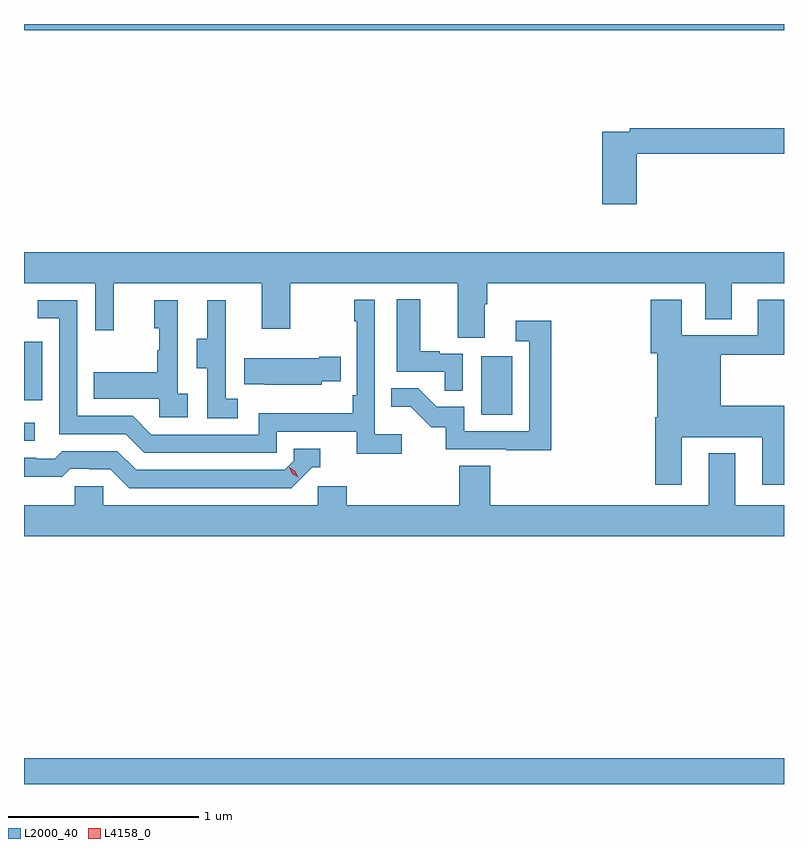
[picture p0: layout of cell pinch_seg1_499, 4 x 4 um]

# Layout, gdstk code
import gdstk
lib = gdstk.Library(unit=1e-6, precision=1e-09)
def R(c, l, rs):  # rectangles x0, y0, x1, y1
    for r in rs: c.add(gdstk.rectangle(r[:2], r[2:], *l))
def P(c, l, *ps):  # polygons
    for p in ps: c.add(gdstk.Polygon(p, *l))
L2000_40 = (2000, 40)
L4158_0 = (4158, 0)

pinch_seg1_499 = lib.new_cell('pinch_seg1_499')
R(pinch_seg1_499, L2000_40, [(1131.763,531.78,1135.763,531.916), (1131.763,533.586,1131.82,533.682), (1134.17,533.724,1134.334,534.031), (1131.763,533.799,1131.858,534.108), (1131.763,535.748,1135.763,535.78)])
P(pinch_seg1_499, L2000_40, [(1134.989,535.096),(1135.763,535.096),(1135.763,535.232),(1134.952,535.232),(1134.952,535.212),(1134.806,535.212),(1134.806,534.831),(1134.989,534.831)],
  [(1134.187,534.304),(1134.2,534.304),(1134.2,534.416),(1135.349,534.416),(1135.349,534.226),(1135.489,534.226),(1135.489,534.416),(1135.763,534.416),(1135.763,534.58),(1131.763,534.58),(1131.763,534.416),(1132.137,534.416),(1132.137,534.168),(1132.235,534.168),(1132.235,534.416),(1133.015,534.416),(1133.015,534.177),(1133.163,534.177),(1133.163,534.416),(1134.047,534.416),(1134.047,534.13),(1134.187,534.13)],
  [(1134.072,534.045),(1133.951,534.045),(1133.951,534.058),(1133.848,534.058),(1133.848,534.331),(1133.726,534.331),(1133.726,533.949),(1133.977,533.949),(1133.977,533.851),(1134.072,533.851)],
  [(1135.225,533.606),(1135.649,533.606),(1135.649,533.355),(1135.763,533.355),(1135.763,533.77),(1135.429,533.77),(1135.429,534.04),(1135.763,534.04),(1135.763,534.328),(1135.625,534.328),(1135.625,534.141),(1135.225,534.141),(1135.225,534.328),(1135.061,534.328),(1135.061,534.048),(1135.097,534.048),(1135.097,533.71),(1135.085,533.71),(1135.085,533.355),(1135.225,533.355)],
  [(1133.752,533.62),(1133.61,533.62),(1133.61,534.328),(1133.502,534.328),(1133.502,534.215),(1133.514,534.215),(1133.514,533.827),(1133.494,533.827),(1133.494,533.731),(1132.998,533.731),(1132.998,533.619),(1132.434,533.619),(1132.335,533.718),(1132.044,533.718),(1132.044,534.327),(1131.835,534.327),(1131.835,534.231),(1131.948,534.231),(1131.948,533.622),(1132.298,533.622),(1132.397,533.523),(1133.094,533.523),(1133.094,533.634),(1133.513,533.634),(1133.513,533.518),(1133.752,533.518)],
  [(1132.888,533.807),(1132.824,533.807),(1132.824,534.111),(1132.826,534.111),(1132.826,534.325),(1132.727,534.325),(1132.727,534.123),(1132.673,534.123),(1132.673,533.968),(1132.728,533.968),(1132.728,533.704),(1132.888,533.704)],
  [(1132.624,533.834),(1132.572,533.834),(1132.572,534.325),(1132.448,534.325),(1132.448,534.18),(1132.474,534.18),(1132.474,534.062),(1132.464,534.062),(1132.464,533.947),(1132.129,533.947),(1132.129,533.807),(1132.476,533.807),(1132.476,533.709),(1132.624,533.709)],
  [(1134.539,534.217),(1134.351,534.217),(1134.351,534.111),(1134.423,534.111),(1134.423,533.637),(1134.081,533.637),(1134.081,533.766),(1133.936,533.766),(1133.838,533.864),(1133.695,533.864),(1133.695,533.765),(1133.799,533.765),(1133.906,533.658),(1133.983,533.658),(1133.983,533.541),(1134.301,533.541),(1134.301,533.536),(1134.539,533.536)],
  [(1133.331,533.9),(1133.429,533.9),(1133.429,534.03),(1133.318,534.03),(1133.318,534.022),(1132.921,534.022),(1132.921,533.885),(1133.029,533.885),(1133.029,533.882),(1133.331,533.882)],
  [(1133.28,533.448),(1133.323,533.448),(1133.323,533.544),(1133.184,533.544),(1133.184,533.481),(1133.136,533.433),(1132.353,533.433),(1132.254,533.532),(1131.965,533.532),(1131.926,533.493),(1131.827,533.493),(1131.827,533.496),(1131.763,533.496),(1131.763,533.397),(1131.965,533.397),(1132.007,533.439),(1132.11,533.439),(1132.11,533.436),(1132.217,533.436),(1132.316,533.337),(1133.169,533.337)],
  [(1135.763,533.248),(1135.507,533.248),(1135.507,533.521),(1135.367,533.521),(1135.367,533.248),(1134.218,533.248),(1134.218,533.456),(1134.053,533.456),(1134.053,533.248),(1133.462,533.248),(1133.462,533.346),(1133.31,533.346),(1133.31,533.248),(1132.179,533.248),(1132.179,533.346),(1132.029,533.346),(1132.029,533.248),(1131.763,533.248),(1131.763,533.084),(1135.763,533.084)])
P(pinch_seg1_499, L4158_0, [(1133.206,533.394),(1133.176,533.414),(1133.16,533.447),(1133.16,533.447),(1133.161,533.447),(1133.191,533.427),(1133.207,533.395),(1133.207,533.394)])

lib.write_gds('pinch_seg1_499.gds')
